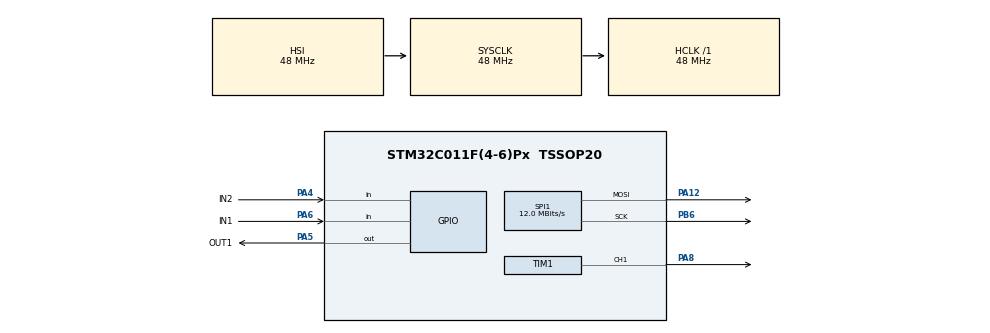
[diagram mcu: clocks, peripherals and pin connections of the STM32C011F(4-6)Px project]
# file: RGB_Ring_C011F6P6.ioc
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Dma.Request0=TIM1_CH1
Dma.Request1=SPI1_TX
Dma.SPI1_TX.1.Direction=DMA_MEMORY_TO_PERIPH
Dma.SPI1_TX.1.EventEnable=DISABLE
Dma.SPI1_TX.1.Instance=DMA1_Channel2
Dma.SPI1_TX.1.MemDataAlignment=DMA_MDATAALIGN_HALFWORD
Dma.SPI1_TX.1.MemInc=DMA_MINC_ENABLE
Dma.SPI1_TX.1.Mode=DMA_NORMAL
Dma.SPI1_TX.1.PeriphDataAlignment=DMA_PDATAALIGN_HALFWORD
Dma.SPI1_TX.1.PeriphInc=DMA_PINC_DISABLE
Dma.SPI1_TX.1.Polarity=HAL_DMAMUX_REQ_GEN_RISING
Dma.SPI1_TX.1.Priority=DMA_PRIORITY_VERY_HIGH
Dma.SPI1_TX.1.RequestNumber=1
Dma.SPI1_TX.1.SignalID=NONE
Dma.SPI1_TX.1.SyncEnable=DISABLE
Dma.SPI1_TX.1.SyncPolarity=HAL_DMAMUX_SYNC_NO_EVENT
Dma.SPI1_TX.1.SyncRequestNumber=1
Dma.SPI1_TX.1.SyncSignalID=NONE
Dma.TIM1_CH1.0.Direction=DMA_MEMORY_TO_PERIPH
Dma.TIM1_CH1.0.EventEnable=DISABLE
Dma.TIM1_CH1.0.Instance=DMA1_Channel1
Dma.TIM1_CH1.0.MemDataAlignment=DMA_MDATAALIGN_HALFWORD
Dma.TIM1_CH1.0.MemInc=DMA_MINC_ENABLE
Dma.TIM1_CH1.0.Mode=DMA_NORMAL
Dma.TIM1_CH1.0.PeriphDataAlignment=DMA_PDATAALIGN_HALFWORD
Dma.TIM1_CH1.0.PeriphInc=DMA_PINC_DISABLE
Dma.TIM1_CH1.0.Polarity=HAL_DMAMUX_REQ_GEN_RISING
Dma.TIM1_CH1.0.Priority=DMA_PRIORITY_VERY_HIGH
Dma.TIM1_CH1.0.RequestNumber=1
Dma.TIM1_CH1.0.SignalID=NONE
Dma.TIM1_CH1.0.SyncEnable=DISABLE
Dma.TIM1_CH1.0.SyncPolarity=HAL_DMAMUX_SYNC_NO_EVENT
Dma.TIM1_CH1.0.SyncRequestNumber=1
Dma.TIM1_CH1.0.SyncSignalID=NONE
Mcu.Family=STM32C0
Mcu.Name=STM32C011F(4-6)Px
Mcu.Package=TSSOP20
NVIC.DMA1_Channel1_IRQn=true\:0\:0\:false\:false\:true\:false\:true\:true
NVIC.DMA1_Channel2_3_IRQn=true\:0\:0\:false\:false\:true\:false\:true\:true
PA0.Signal=USART1_TX
PA1.Signal=USART1_RX
PA12\ [PA10].Mode=TX_Only_Simplex_Unidirect_Master
PA12\ [PA10].Signal=SPI1_MOSI
PA13.Mode=Serial_Wire
PA13.Signal=DEBUG_SWDIO
PA14-BOOT0.Mode=Serial_Wire
PA14-BOOT0.Signal=DEBUG_SWCLK
PA4.GPIO_Label=IN2
PA4.Signal=GPIO_Input
PA5.GPIO_Label=OUT1
PA5.Signal=GPIO_Output
PA6.GPIO_Label=IN1
PA6.Signal=GPIO_Input
PA8.GPIO_PuPd=GPIO_PULLUP
PA8.GPIO_Speed=GPIO_SPEED_FREQ_VERY_HIGH
PA8.Signal=S_TIM1_CH1
PB6.GPIO_PuPd=GPIO_PULLDOWN
PB6.GPIO_Speed=GPIO_SPEED_FREQ_VERY_HIGH
PB6.Mode=TX_Only_Simplex_Unidirect_Master
PB6.Signal=SPI1_SCK
PB7.Signal=I2C1_SCL
PC14-OSCX_IN\ (PC14).Signal=I2C1_SDA
ProjectManager.HeapSize=0x200
ProjectManager.StackSize=0x400
ProjectManager.TargetToolchain=STM32CubeIDE
RCC.ADCFreq_Value=48000000
RCC.AHBFreq_Value=48000000
RCC.CortexFreq_Value=48000000
RCC.EXTERNAL_CLOCK_VALUE=12288000
RCC.HCLKFreq_Value=48000000
RCC.HSE_VALUE=8000000
RCC.HSISYSCLKDivider=RCC_HSI_DIV1
RCC.HSI_VALUE=48000000
RCC.LSE_VALUE=32768
RCC.SYSCLKFreq_VALUE=48000000
SH.S_TIM1_CH1.0=TIM1_CH1,PWM Generation1 CH1
SPI1.BaudRatePrescaler=SPI_BAUDRATEPRESCALER_4
SPI1.CalculateBaudRate=12.0 MBits/s
SPI1.DataSize=SPI_DATASIZE_16BIT
SPI1.Direction=SPI_DIRECTION_2LINES
SPI1.Mode=SPI_MODE_MASTER
SPI1.VirtualType=VM_MASTER
TIM1.Channel-PWM\ Generation1\ CH1=TIM_CHANNEL_1
TIM1.Period=60-1
board=custom

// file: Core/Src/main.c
/* USER CODE BEGIN Header */
/**
 ******************************************************************************
 * @file           : main.c
 * @brief          : Main program body
 ******************************************************************************
 * @attention
 *
 * Copyright (c) 2025 STMicroelectronics.
 * All rights reserved.
 *
 * This software is licensed under terms that can be found in the LICENSE file
 * in the root directory of this software component.
 * If no LICENSE file comes with this software, it is provided AS-IS.
 *
 ******************************************************************************
 */
/* USER CODE END Header */
#include "main.h"
#include "dma.h"
#include "spi.h"
#include "tim.h"
#include "gpio.h"

/* USER CODE BEGIN Includes */
#include "RGB_Ball/rgb_ball.h"
/* USER CODE END Includes */

void SystemClock_Config(void);

int main(void)
{

  /* MCU Configuration--------------------------------------------------------*/

  /* Reset of all peripherals, Initializes the Flash interface and the Systick. */
  HAL_Init();

  /* Configure the system clock */
  SystemClock_Config();

  /* Initialize all configured peripherals */
  MX_GPIO_Init();
  MX_DMA_Init();
  MX_TIM1_Init();
  MX_SPI1_Init();
  /* USER CODE BEGIN 2 */

	rgb_ball_init();
	uint8_t mode = rgb_ball_read_jumpers();

	switch (mode) {
	case 1:
		rgb_ball_blink(1);
		//rgb_ball_sun_storm();
		sunstorm_cycle();
		break;
	case 2:
		rgb_ball_blink(2);
		rgb_ball_christmas_color_fade();
		break;
	case 3:
		rgb_ball_blink(3);
		rgb_ball_rainbow_fade();
		break;
	default:
		break;
	}

	// never get here!

  /* USER CODE END 2 */

  /* Infinite loop */
	while (1) {

	}
}

void SystemClock_Config(void)
{
  RCC_OscInitTypeDef RCC_OscInitStruct = {0};
  RCC_ClkInitTypeDef RCC_ClkInitStruct = {0};

  __HAL_FLASH_SET_LATENCY(FLASH_LATENCY_1);

  /** Initializes the RCC Oscillators according to the specified parameters
  * in the RCC_OscInitTypeDef structure.
  */
  RCC_OscInitStruct.OscillatorType = RCC_OSCILLATORTYPE_HSI;
  RCC_OscInitStruct.HSIState = RCC_HSI_ON;
  RCC_OscInitStruct.HSIDiv = RCC_HSI_DIV1;
  RCC_OscInitStruct.HSICalibrationValue = RCC_HSICALIBRATION_DEFAULT;
  if (HAL_RCC_OscConfig(&RCC_OscInitStruct) != HAL_OK)
  {
    Error_Handler();
  }

  /** Initializes the CPU, AHB and APB buses clocks
  */
  RCC_ClkInitStruct.ClockType = RCC_CLOCKTYPE_HCLK|RCC_CLOCKTYPE_SYSCLK
                              |RCC_CLOCKTYPE_PCLK1;
  RCC_ClkInitStruct.SYSCLKSource = RCC_SYSCLKSOURCE_HSI;
  RCC_ClkInitStruct.SYSCLKDivider = RCC_SYSCLK_DIV1;
  RCC_ClkInitStruct.AHBCLKDivider = RCC_HCLK_DIV1;
  RCC_ClkInitStruct.APB1CLKDivider = RCC_APB1_DIV1;

  if (HAL_RCC_ClockConfig(&RCC_ClkInitStruct, FLASH_LATENCY_1) != HAL_OK)
  {
    Error_Handler();
  }
}

void Error_Handler(void)
{
	__disable_irq();
	while (1) {
	}
}
